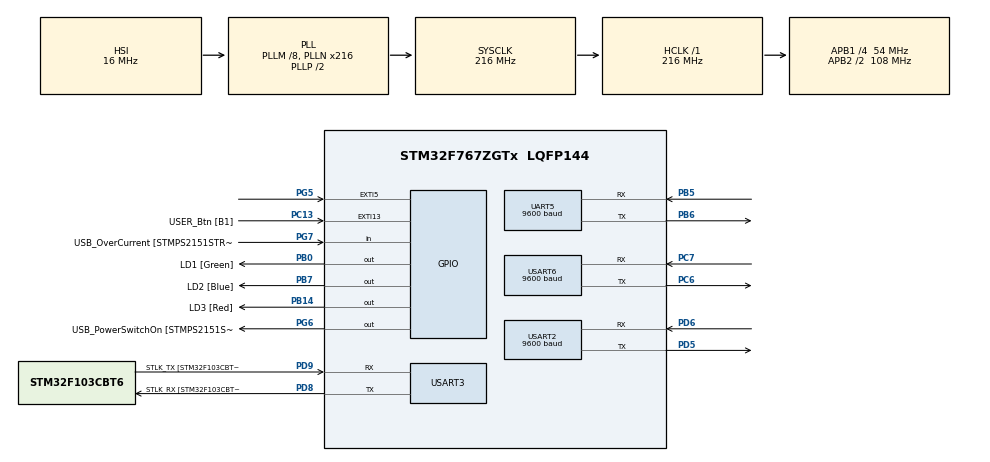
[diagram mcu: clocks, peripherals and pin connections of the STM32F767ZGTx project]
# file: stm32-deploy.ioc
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Dma.Request0=USART6_RX
Dma.Request1=UART5_RX
Dma.Request2=UART5_TX
Dma.UART5_RX.1.Direction=DMA_PERIPH_TO_MEMORY
Dma.UART5_RX.1.FIFOMode=DMA_FIFOMODE_DISABLE
Dma.UART5_RX.1.Instance=DMA1_Stream0
Dma.UART5_RX.1.MemDataAlignment=DMA_MDATAALIGN_BYTE
Dma.UART5_RX.1.MemInc=DMA_MINC_ENABLE
Dma.UART5_RX.1.Mode=DMA_CIRCULAR
Dma.UART5_RX.1.PeriphDataAlignment=DMA_PDATAALIGN_BYTE
Dma.UART5_RX.1.PeriphInc=DMA_PINC_DISABLE
Dma.UART5_RX.1.Priority=DMA_PRIORITY_LOW
Dma.UART5_TX.2.Direction=DMA_MEMORY_TO_PERIPH
Dma.UART5_TX.2.FIFOMode=DMA_FIFOMODE_DISABLE
Dma.UART5_TX.2.Instance=DMA1_Stream7
Dma.UART5_TX.2.MemDataAlignment=DMA_MDATAALIGN_BYTE
Dma.UART5_TX.2.MemInc=DMA_MINC_ENABLE
Dma.UART5_TX.2.Mode=DMA_CIRCULAR
Dma.UART5_TX.2.PeriphDataAlignment=DMA_PDATAALIGN_BYTE
Dma.UART5_TX.2.PeriphInc=DMA_PINC_DISABLE
Dma.UART5_TX.2.Priority=DMA_PRIORITY_LOW
Dma.USART6_RX.0.Direction=DMA_PERIPH_TO_MEMORY
Dma.USART6_RX.0.FIFOMode=DMA_FIFOMODE_DISABLE
Dma.USART6_RX.0.Instance=DMA2_Stream1
Dma.USART6_RX.0.MemDataAlignment=DMA_MDATAALIGN_BYTE
Dma.USART6_RX.0.MemInc=DMA_MINC_ENABLE
Dma.USART6_RX.0.Mode=DMA_CIRCULAR
Dma.USART6_RX.0.PeriphDataAlignment=DMA_PDATAALIGN_BYTE
Dma.USART6_RX.0.PeriphInc=DMA_PINC_DISABLE
Dma.USART6_RX.0.Priority=DMA_PRIORITY_LOW
Mcu.Family=STM32F7
Mcu.Name=STM32F767ZGTx
Mcu.Package=LQFP144
NVIC.DMA1_Stream0_IRQn=true\:0\:0\:false\:false\:true\:false\:true\:true
NVIC.DMA1_Stream7_IRQn=true\:0\:0\:false\:false\:true\:false\:true\:true
NVIC.DMA2_Stream1_IRQn=true\:0\:0\:false\:false\:true\:false\:true\:true
NVIC.EXTI9_5_IRQn=true\:0\:0\:false\:false\:true\:true\:true\:true
NVIC.PriorityGroup=NVIC_PRIORITYGROUP_4
NVIC.UART5_IRQn=true\:0\:0\:false\:false\:true\:true\:true\:true
PA1.GPIO_Label=RMII_REF_CLK [LAN8742A-CZ-TR_REFCLK0]
PA1.Signal=ETH_REF_CLK
PA10.GPIO_Mode=GPIO_MODE_AF_PP
PA10.GPIO_PuPd=GPIO_NOPULL
PA10.GPIO_Speed=GPIO_SPEED_FREQ_VERY_HIGH
PA10.Signal=USB_OTG_FS_ID
PA11.GPIO_Mode=GPIO_MODE_AF_PP
PA11.GPIO_PuPd=GPIO_NOPULL
PA11.GPIO_Speed=GPIO_SPEED_FREQ_VERY_HIGH
PA11.Signal=USB_OTG_FS_DM
PA12.GPIO_Mode=GPIO_MODE_AF_PP
PA12.GPIO_PuPd=GPIO_NOPULL
PA12.GPIO_Speed=GPIO_SPEED_FREQ_VERY_HIGH
PA12.Signal=USB_OTG_FS_DP
PA13.GPIO_Label=TMS
PA13.Mode=Serial_Wire
PA13.Signal=SYS_JTMS-SWDIO
PA14.GPIO_Label=TCK
PA14.Mode=Serial_Wire
PA14.Signal=SYS_JTCK-SWCLK
PA2.GPIO_Label=RMII_MDIO [LAN8742A-CZ-TR_MDIO]
PA2.Signal=ETH_MDIO
PA7.GPIO_Label=RMII_CRS_DV [LAN8742A-CZ-TR_CRS_DV]
PA7.Signal=ETH_CRS_DV
PA8.GPIO_Label=USB_SOF [TP1]
PA8.Signal=USB_OTG_FS_SOF
PA9.GPIO_Label=USB_VBUS
PA9.Signal=USB_OTG_FS_VBUS
PB0.GPIO_Label=LD1 [Green]
PB0.Signal=GPIO_Output
PB13.GPIO_Label=RMII_TXD1 [LAN8742A-CZ-TR_TXD1]
PB13.Signal=ETH_TXD1
PB14.GPIO_Label=LD3 [Red]
PB14.Signal=GPIO_Output
PB3.GPIO_Label=SWO
PB3.Signal=SYS_JTDO-SWO
PB5.Mode=Asynchronous
PB5.Signal=UART5_RX
PB6.Mode=Asynchronous
PB6.Signal=UART5_TX
PB7.GPIO_Label=LD2 [Blue]
PB7.Signal=GPIO_Output
PC1.GPIO_Label=RMII_MDC [LAN8742A-CZ-TR_MDC]
PC1.Signal=ETH_MDC
PC13.GPIO_Label=USER_Btn [B1]
PC13.Signal=GPXTI13
PC14/OSC32_IN.Mode=LSE-External-Oscillator
PC14/OSC32_IN.Signal=RCC_OSC32_IN
PC15/OSC32_OUT.Mode=LSE-External-Oscillator
PC15/OSC32_OUT.Signal=RCC_OSC32_OUT
PC4.GPIO_Label=RMII_RXD0 [LAN8742A-CZ-TR_RXD0]
PC4.Signal=ETH_RXD0
PC5.GPIO_Label=RMII_RXD1 [LAN8742A-CZ-TR_RXD1]
PC5.Signal=ETH_RXD1
PC6.Mode=Asynchronous
PC6.Signal=USART6_TX
PC7.Mode=Asynchronous
PC7.Signal=USART6_RX
PD5.GPIO_Speed=GPIO_SPEED_FREQ_VERY_HIGH
PD5.Mode=Asynchronous
PD5.Signal=USART2_TX
PD6.GPIO_PuPd=GPIO_NOPULL
PD6.Mode=Asynchronous
PD6.Signal=USART2_RX
PD8.GPIO_Label=STLK_RX [STM32F103CBT6_PA3]
PD8.Mode=Asynchronous
PD8.Signal=USART3_TX
PD9.GPIO_Label=STLK_TX [STM32F103CBT6_PA2]
PD9.Mode=Asynchronous
PD9.Signal=USART3_RX
PG11.GPIO_Label=RMII_TX_EN [LAN8742A-CZ-TR_TXEN]
PG11.Signal=ETH_TX_EN
PG13.GPIO_Label=RMII_TXD0 [LAN8742A-CZ-TR_TXD0]
PG13.Signal=ETH_TXD0
PG5.GPIO_ModeDefaultEXTI=GPIO_MODE_IT_RISING_FALLING
PG5.GPIO_PuPd=GPIO_PULLDOWN
PG5.Signal=GPXTI5
PG6.GPIO_Label=USB_PowerSwitchOn [STMPS2151STR_EN]
PG6.Signal=GPIO_Output
PG7.GPIO_Label=USB_OverCurrent [STMPS2151STR_FAULT]
PG7.Signal=GPIO_Input
PH0/OSC_IN.GPIO_Label=MCO [STM32F103CBT6_PA8]
PH0/OSC_IN.Mode=HSE-External-Clock-Source
PH0/OSC_IN.Signal=RCC_OSC_IN
PH1/OSC_OUT.Mode=HSE-External-Clock-Source
PH1/OSC_OUT.Signal=RCC_OSC_OUT
ProjectManager.HeapSize=0x200
ProjectManager.StackSize=0x400
ProjectManager.TargetToolchain=STM32CubeIDE
RCC.48MHZClocksFreq_Value=24000000
RCC.AHBFreq_Value=216000000
RCC.APB1CLKDivider=RCC_HCLK_DIV4
RCC.APB1Freq_Value=54000000
RCC.APB1TimFreq_Value=108000000
RCC.APB2CLKDivider=RCC_HCLK_DIV2
RCC.APB2Freq_Value=108000000
RCC.APB2TimFreq_Value=216000000
RCC.CortexFreq_Value=216000000
RCC.HCLKFreq_Value=216000000
RCC.HSE_VALUE=8000000
RCC.HSI_VALUE=16000000
RCC.PLLM=8
RCC.PLLMUL=RCC_PLL_MUL9
RCC.PLLN=216
RCC.PLLQ=5
RCC.PRESCALERUSB=RCC_USBCLKSOURCE_PLL_DIV1_5
RCC.SYSCLKFreq_VALUE=216000000
RCC.SYSCLKSource=RCC_SYSCLKSOURCE_PLLCLK
RCC.SYSCLKSourceVirtual=RCC_SYSCLKSOURCE_PLLCLK
RCC.USBFreq_Value=86400000
RCC.VCOOutputFreq_Value=432000000
UART5.BaudRate=9600
USART2.BaudRate=9600
USART2.VirtualMode-Asynchronous=VM_ASYNC
USART3.VirtualMode-Asynchronous=VM_ASYNC
USART6.BaudRate=9600
USART6.VirtualMode-Asynchronous=VM_ASYNC
board=custom

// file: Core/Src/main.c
/* USER CODE BEGIN Header */
/**
  ******************************************************************************
  * @file           : main.c
  * @brief          : Main program body
  ******************************************************************************
  * @attention
  *
  * Copyright (c) 2023 STMicroelectronics.
  * All rights reserved.
  *
  * This software is licensed under terms that can be found in the LICENSE file
  * in the root directory of this software component.
  * If no LICENSE file comes with this software, it is provided AS-IS.
  *
  ******************************************************************************
  */
/* USER CODE END Header */
#include "main.h"

/* USER CODE BEGIN Includes */
#include "stdio.h"
#include "string.h"
#include "dijkstra.h"
#include "landmarks.h"
#include "lwgps/lwgps.h"
#include "k_d_tree.h"
#include "proximity.h"
#include "navigation.h"
#include "helper_functions.h"
#include "navigation_tests.h"
#include "state.h"
/* USER CODE END Includes */

/* USER CODE BEGIN PD */
#ifndef bool
#define bool int
#endif

#ifndef true
#define true 1
#endif

#ifndef false
#define false 0
#endif

#define BUTTONS 0
#define ALIASES 1
#define OUTPUTS 2
#define CUR_LOC 3
#define QUIT 4
#define MIC_PIN GPIO_PIN_5

/* USER CODE END PD */

UART_HandleTypeDef huart5;
UART_HandleTypeDef huart2;
UART_HandleTypeDef huart3;
UART_HandleTypeDef huart6;
DMA_HandleTypeDef hdma_uart5_rx;
DMA_HandleTypeDef hdma_uart5_tx;
DMA_HandleTypeDef hdma_usart6_rx;

void SystemClock_Config(void);
static void MX_GPIO_Init(void);
static void MX_DMA_Init(void);
static void MX_USART3_UART_Init(void);
static void MX_USART2_UART_Init(void);
static void MX_USART6_UART_Init(void);
static void MX_UART5_Init(void);

int main(void)
{

  /* MCU Configuration--------------------------------------------------------*/

  /* Reset of all peripherals, Initializes the Flash interface and the Systick. */
  HAL_Init();

  /* USER CODE BEGIN Init */
  curr_path_index = 0;
  /* USER CODE END Init */

  /* Configure the system clock */
  SystemClock_Config();

  /* Initialize all configured peripherals */
  MX_GPIO_Init();
  MX_DMA_Init();
  MX_USART3_UART_Init();
  MX_USART2_UART_Init();
  MX_USART6_UART_Init();
  MX_UART5_Init();
  /* USER CODE BEGIN 2 */
  //int a = USE_HAL_UART_REGISTER_CALLBACKS;

  lwgps_init(&gps);
  //Enables scanf and printf to work
  setvbuf(stdin, NULL, _IONBF, 0);
  //test_runs();
  HAL_UART_Receive_DMA(&huart6, nav_rx_data, UART2_RX_DMA_BUFFER_SIZE);

  HAL_UART_Receive_DMA(&huart5, (uint8_t*)state, STATE_SIZE);
  HAL_UART_Transmit_DMA(&huart5, (uint8_t*)state, STATE_SIZE);
  /* USER CODE END 2 */

  /* Infinite loop */
  /* USER CODE BEGIN WHILE */
  set_state(BOOT, 0, 0, 0);
  int destination = 34;
  int fix_status;
  printf("Waiting for GPS Fix...\n");
  do {
	  //printf("Waiting for GPS Fix...\n\r");
	  fix_status = navigation_gps_status();
  } while(fix_status == 0); // should check for number of satellites? 6 seems reasonable
  set_state(IDLE, 0, 0, 0);
  navigation_set_path(destination);
  printf("Now entering main loop\n\r");
  while (1)
  {
    navigation_main_loop();
	continue;
	printf("Latitude: ");
	print_float(coord.y);
	printf(" ");
	printf("Longitude: ");
	print_float(coord.x);
	printf("\n\r");
    /* USER CODE END WHILE */

  }
}

void SystemClock_Config(void)
{
  RCC_OscInitTypeDef RCC_OscInitStruct = {0};
  RCC_ClkInitTypeDef RCC_ClkInitStruct = {0};

  /** Configure LSE Drive Capability
  */
  HAL_PWR_EnableBkUpAccess();

  /** Configure the main internal regulator output voltage
  */
  __HAL_RCC_PWR_CLK_ENABLE();
  __HAL_PWR_VOLTAGESCALING_CONFIG(PWR_REGULATOR_VOLTAGE_SCALE1);

  /** Initializes the RCC Oscillators according to the specified parameters
  * in the RCC_OscInitTypeDef structure.
  */
  RCC_OscInitStruct.OscillatorType = RCC_OSCILLATORTYPE_HSI;
  RCC_OscInitStruct.HSIState = RCC_HSI_ON;
  RCC_OscInitStruct.HSICalibrationValue = RCC_HSICALIBRATION_DEFAULT;
  RCC_OscInitStruct.PLL.PLLState = RCC_PLL_ON;
  RCC_OscInitStruct.PLL.PLLSource = RCC_PLLSOURCE_HSI;
  RCC_OscInitStruct.PLL.PLLM = 8;
  RCC_OscInitStruct.PLL.PLLN = 216;
  RCC_OscInitStruct.PLL.PLLP = RCC_PLLP_DIV2;
  RCC_OscInitStruct.PLL.PLLQ = 5;
  RCC_OscInitStruct.PLL.PLLR = 2;
  if (HAL_RCC_OscConfig(&RCC_OscInitStruct) != HAL_OK)
  {
    Error_Handler();
  }

  /** Activate the Over-Drive mode
  */
  if (HAL_PWREx_EnableOverDrive() != HAL_OK)
  {
    Error_Handler();
  }

  /** Initializes the CPU, AHB and APB buses clocks
  */
  RCC_ClkInitStruct.ClockType = RCC_CLOCKTYPE_HCLK|RCC_CLOCKTYPE_SYSCLK
                              |RCC_CLOCKTYPE_PCLK1|RCC_CLOCKTYPE_PCLK2;
  RCC_ClkInitStruct.SYSCLKSource = RCC_SYSCLKSOURCE_PLLCLK;
  RCC_ClkInitStruct.AHBCLKDivider = RCC_SYSCLK_DIV1;
  RCC_ClkInitStruct.APB1CLKDivider = RCC_HCLK_DIV4;
  RCC_ClkInitStruct.APB2CLKDivider = RCC_HCLK_DIV2;

  if (HAL_RCC_ClockConfig(&RCC_ClkInitStruct, FLASH_LATENCY_7) != HAL_OK)
  {
    Error_Handler();
  }
}

static void MX_UART5_Init(void)
{

  huart5.Instance = UART5;
  huart5.Init.BaudRate = 9600;
  huart5.Init.WordLength = UART_WORDLENGTH_8B;
  huart5.Init.StopBits = UART_STOPBITS_1;
  huart5.Init.Parity = UART_PARITY_NONE;
  huart5.Init.Mode = UART_MODE_TX_RX;
  huart5.Init.HwFlowCtl = UART_HWCONTROL_NONE;
  huart5.Init.OverSampling = UART_OVERSAMPLING_16;
  huart5.Init.OneBitSampling = UART_ONE_BIT_SAMPLE_DISABLE;
  huart5.AdvancedInit.AdvFeatureInit = UART_ADVFEATURE_NO_INIT;
  if (HAL_UART_Init(&huart5) != HAL_OK)
  {
    Error_Handler();
  }

}

static void MX_USART2_UART_Init(void)
{

  huart2.Instance = USART2;
  huart2.Init.BaudRate = 9600;
  huart2.Init.WordLength = UART_WORDLENGTH_8B;
  huart2.Init.StopBits = UART_STOPBITS_1;
  huart2.Init.Parity = UART_PARITY_NONE;
  huart2.Init.Mode = UART_MODE_TX_RX;
  huart2.Init.HwFlowCtl = UART_HWCONTROL_NONE;
  huart2.Init.OverSampling = UART_OVERSAMPLING_16;
  huart2.Init.OneBitSampling = UART_ONE_BIT_SAMPLE_DISABLE;
  huart2.AdvancedInit.AdvFeatureInit = UART_ADVFEATURE_NO_INIT;
  if (HAL_UART_Init(&huart2) != HAL_OK)
  {
    Error_Handler();
  }

}

static void MX_USART3_UART_Init(void)
{

  huart3.Instance = USART3;
  huart3.Init.BaudRate = 115200;
  huart3.Init.WordLength = UART_WORDLENGTH_8B;
  huart3.Init.StopBits = UART_STOPBITS_1;
  huart3.Init.Parity = UART_PARITY_NONE;
  huart3.Init.Mode = UART_MODE_TX_RX;
  huart3.Init.HwFlowCtl = UART_HWCONTROL_NONE;
  huart3.Init.OverSampling = UART_OVERSAMPLING_16;
  huart3.Init.OneBitSampling = UART_ONE_BIT_SAMPLE_DISABLE;
  huart3.AdvancedInit.AdvFeatureInit = UART_ADVFEATURE_NO_INIT;
  if (HAL_UART_Init(&huart3) != HAL_OK)
  {
    Error_Handler();
  }

}

static void MX_USART6_UART_Init(void)
{

  huart6.Instance = USART6;
  huart6.Init.BaudRate = 9600;
  huart6.Init.WordLength = UART_WORDLENGTH_8B;
  huart6.Init.StopBits = UART_STOPBITS_1;
  huart6.Init.Parity = UART_PARITY_NONE;
  huart6.Init.Mode = UART_MODE_TX_RX;
  huart6.Init.HwFlowCtl = UART_HWCONTROL_NONE;
  huart6.Init.OverSampling = UART_OVERSAMPLING_16;
  huart6.Init.OneBitSampling = UART_ONE_BIT_SAMPLE_DISABLE;
  huart6.AdvancedInit.AdvFeatureInit = UART_ADVFEATURE_NO_INIT;
  if (HAL_UART_Init(&huart6) != HAL_OK)
  {
    Error_Handler();
  }

}

static void MX_DMA_Init(void)
{

  /* DMA controller clock enable */
  __HAL_RCC_DMA2_CLK_ENABLE();
  __HAL_RCC_DMA1_CLK_ENABLE();

  /* DMA interrupt init */
  /* DMA1_Stream0_IRQn interrupt configuration */
  HAL_NVIC_SetPriority(DMA1_Stream0_IRQn, 0, 0);
  HAL_NVIC_EnableIRQ(DMA1_Stream0_IRQn);
  /* DMA1_Stream7_IRQn interrupt configuration */
  HAL_NVIC_SetPriority(DMA1_Stream7_IRQn, 0, 0);
  HAL_NVIC_EnableIRQ(DMA1_Stream7_IRQn);
  /* DMA2_Stream1_IRQn interrupt configuration */
  HAL_NVIC_SetPriority(DMA2_Stream1_IRQn, 0, 0);
  HAL_NVIC_EnableIRQ(DMA2_Stream1_IRQn);

}

static void MX_GPIO_Init(void)
{
  GPIO_InitTypeDef GPIO_InitStruct = {0};

  /* GPIO Ports Clock Enable */
  __HAL_RCC_GPIOC_CLK_ENABLE();
  __HAL_RCC_GPIOH_CLK_ENABLE();
  __HAL_RCC_GPIOA_CLK_ENABLE();
  __HAL_RCC_GPIOB_CLK_ENABLE();
  __HAL_RCC_GPIOD_CLK_ENABLE();
  __HAL_RCC_GPIOG_CLK_ENABLE();

  /*Configure GPIO pin Output Level */
  HAL_GPIO_WritePin(GPIOB, LD1_Pin|LD3_Pin|LD2_Pin, GPIO_PIN_RESET);

  /*Configure GPIO pin Output Level */
  HAL_GPIO_WritePin(USB_PowerSwitchOn_GPIO_Port, USB_PowerSwitchOn_Pin, GPIO_PIN_RESET);

  /*Configure GPIO pin : USER_Btn_Pin */
  GPIO_InitStruct.Pin = USER_Btn_Pin;
  GPIO_InitStruct.Mode = GPIO_MODE_IT_RISING;
  GPIO_InitStruct.Pull = GPIO_NOPULL;
  HAL_GPIO_Init(USER_Btn_GPIO_Port, &GPIO_InitStruct);

  /*Configure GPIO pins : RMII_MDC_Pin RMII_RXD0_Pin RMII_RXD1_Pin */
  GPIO_InitStruct.Pin = RMII_MDC_Pin|RMII_RXD0_Pin|RMII_RXD1_Pin;
  GPIO_InitStruct.Mode = GPIO_MODE_AF_PP;
  GPIO_InitStruct.Pull = GPIO_NOPULL;
  GPIO_InitStruct.Speed = GPIO_SPEED_FREQ_VERY_HIGH;
  GPIO_InitStruct.Alternate = GPIO_AF11_ETH;
  HAL_GPIO_Init(GPIOC, &GPIO_InitStruct);

  /*Configure GPIO pins : RMII_REF_CLK_Pin RMII_MDIO_Pin RMII_CRS_DV_Pin */
  GPIO_InitStruct.Pin = RMII_REF_CLK_Pin|RMII_MDIO_Pin|RMII_CRS_DV_Pin;
  GPIO_InitStruct.Mode = GPIO_MODE_AF_PP;
  GPIO_InitStruct.Pull = GPIO_NOPULL;
  GPIO_InitStruct.Speed = GPIO_SPEED_FREQ_VERY_HIGH;
  GPIO_InitStruct.Alternate = GPIO_AF11_ETH;
  HAL_GPIO_Init(GPIOA, &GPIO_InitStruct);

  /*Configure GPIO pins : LD1_Pin LD3_Pin LD2_Pin */
  GPIO_InitStruct.Pin = LD1_Pin|LD3_Pin|LD2_Pin;
  GPIO_InitStruct.Mode = GPIO_MODE_OUTPUT_PP;
  GPIO_InitStruct.Pull = GPIO_NOPULL;
  GPIO_InitStruct.Speed = GPIO_SPEED_FREQ_LOW;
  HAL_GPIO_Init(GPIOB, &GPIO_InitStruct);

  /*Configure GPIO pin : RMII_TXD1_Pin */
  GPIO_InitStruct.Pin = RMII_TXD1_Pin;
  GPIO_InitStruct.Mode = GPIO_MODE_AF_PP;
  GPIO_InitStruct.Pull = GPIO_NOPULL;
  GPIO_InitStruct.Speed = GPIO_SPEED_FREQ_VERY_HIGH;
  GPIO_InitStruct.Alternate = GPIO_AF11_ETH;
  HAL_GPIO_Init(RMII_TXD1_GPIO_Port, &GPIO_InitStruct);

  /*Configure GPIO pin : PG5 */
  GPIO_InitStruct.Pin = GPIO_PIN_5;
  GPIO_InitStruct.Mode = GPIO_MODE_IT_RISING_FALLING;
  GPIO_InitStruct.Pull = GPIO_PULLDOWN;
  HAL_GPIO_Init(GPIOG, &GPIO_InitStruct);

  /*Configure GPIO pin : USB_PowerSwitchOn_Pin */
  GPIO_InitStruct.Pin = USB_PowerSwitchOn_Pin;
  GPIO_InitStruct.Mode = GPIO_MODE_OUTPUT_PP;
  GPIO_InitStruct.Pull = GPIO_NOPULL;
  GPIO_InitStruct.Speed = GPIO_SPEED_FREQ_LOW;
  HAL_GPIO_Init(USB_PowerSwitchOn_GPIO_Port, &GPIO_InitStruct);

  /*Configure GPIO pin : USB_OverCurrent_Pin */
  GPIO_InitStruct.Pin = USB_OverCurrent_Pin;
  GPIO_InitStruct.Mode = GPIO_MODE_INPUT;
  GPIO_InitStruct.Pull = GPIO_NOPULL;
  HAL_GPIO_Init(USB_OverCurrent_GPIO_Port, &GPIO_InitStruct);

  /*Configure GPIO pins : USB_SOF_Pin PA10 PA11 PA12 */
  GPIO_InitStruct.Pin = USB_SOF_Pin|GPIO_PIN_10|GPIO_PIN_11|GPIO_PIN_12;
  GPIO_InitStruct.Mode = GPIO_MODE_AF_PP;
  GPIO_InitStruct.Pull = GPIO_NOPULL;
  GPIO_InitStruct.Speed = GPIO_SPEED_FREQ_VERY_HIGH;
  GPIO_InitStruct.Alternate = GPIO_AF10_OTG_FS;
  HAL_GPIO_Init(GPIOA, &GPIO_InitStruct);

  /*Configure GPIO pin : USB_VBUS_Pin */
  GPIO_InitStruct.Pin = USB_VBUS_Pin;
  GPIO_InitStruct.Mode = GPIO_MODE_INPUT;
  GPIO_InitStruct.Pull = GPIO_NOPULL;
  HAL_GPIO_Init(USB_VBUS_GPIO_Port, &GPIO_InitStruct);

  /*Configure GPIO pins : RMII_TX_EN_Pin RMII_TXD0_Pin */
  GPIO_InitStruct.Pin = RMII_TX_EN_Pin|RMII_TXD0_Pin;
  GPIO_InitStruct.Mode = GPIO_MODE_AF_PP;
  GPIO_InitStruct.Pull = GPIO_NOPULL;
  GPIO_InitStruct.Speed = GPIO_SPEED_FREQ_VERY_HIGH;
  GPIO_InitStruct.Alternate = GPIO_AF11_ETH;
  HAL_GPIO_Init(GPIOG, &GPIO_InitStruct);

  /* EXTI interrupt init*/
  HAL_NVIC_SetPriority(EXTI9_5_IRQn, 0, 0);
  HAL_NVIC_EnableIRQ(EXTI9_5_IRQn);

}

/* USER CODE BEGIN 4 */

void HAL_GPIO_EXTI_Callback(uint16_t GPIO_Pin)
{
	__NOP();
	if(get_state() == PROMPT){
		if(GPIO_Pin == MIC_PIN){
			set_state(NAVIGATE, 0, 0, 0);
		}
		else{
			set_state(IDLE, 0, 0, 0);
		}
		return;
	}
	if(GPIO_Pin == MIC_PIN) {
		if(HAL_GPIO_ReadPin(GPIOG, GPIO_PIN_5) == GPIO_PIN_SET){
		  set_state(READ, 0, 0, 0);
		}
		else if(HAL_GPIO_ReadPin(GPIOG, GPIO_PIN_5) == GPIO_PIN_RESET){
		  set_state(PROCESS, 0, 0, 0);
		}
		else{
		  __NOP();
		}
	} else {
	  __NOP();
	}
}

void HAL_UART_RxCpltCallback(UART_HandleTypeDef *huart){
	if(huart == &huart6){
		process_buffer(1);
	}
//	  HAL_UART_Transmit(&huart3, (uint8_t*)buffer, buffer_len, 500);
//	  buffer_len = sprintf(buffer, "\n\r");
//	  HAL_UART_Transmit(&huart3, (uint8_t*)buffer, buffer_len, 500);
}

void HAL_UART_RxHalfCpltCallback(UART_HandleTypeDef *huart) {
	if(huart == &huart6){
		process_buffer(0);
	}
}

void HAL_UART_TxCpltCallback(UART_HandleTypeDef *huart){
  __NOP();
}

void HAL_UART_TxHalfCpltCallback(UART_HandleTypeDef *huart) {
  __NOP();
}

/* USER CODE END 4 */

void Error_Handler(void)
{
  __disable_irq();
  while (1)
  {
  }
}
